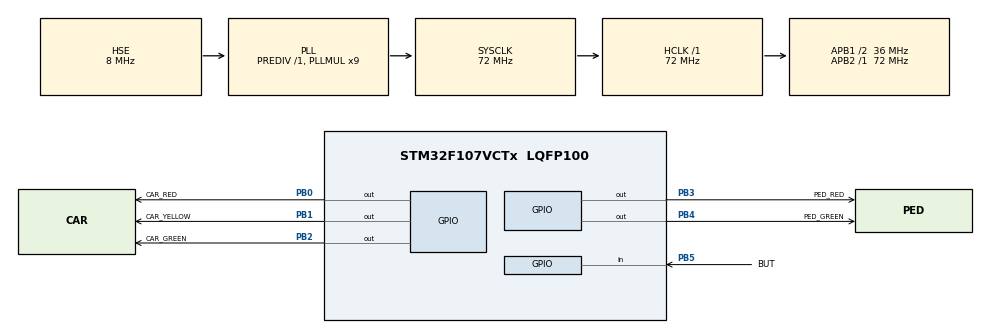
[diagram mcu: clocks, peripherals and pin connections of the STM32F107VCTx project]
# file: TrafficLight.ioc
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ProjectManager.TargetToolchain=STM32CubeIDE
Mcu.Family=STM32F1
Mcu.Name=STM32F107VCTx
Mcu.Package=LQFP100
PB0.GPIO_Label=CAR_RED
PB0.Signal=GPIO_Output
PB1.GPIO_Label=CAR_YELLOW
PB1.Signal=GPIO_Output
PB2.GPIO_Label=CAR_GREEN
PB2.Signal=GPIO_Output
PB3.GPIO_Label=PED_RED
PB3.Signal=GPIO_Output
PB4.GPIO_Label=PED_GREEN
PB4.Signal=GPIO_Output
PB5.GPIO_Label=BUT
PB5.GPIO_ModeDefault=GPIO_MODE_INPUT
PB5.GPIO_PuPd=GPIO_PULLUP
PB5.Signal=GPIO_Input
PA13.Mode=Serial_Wire
PA13.Signal=SYS_JTMS-SWDIO
PA14.Mode=Serial_Wire
PA14.Signal=SYS_JTCK-SWCLK
RCC.APB1CLKDivider=RCC_HCLK_DIV2
RCC.APB1Freq_Value=36000000
RCC.APB2CLKDivider=RCC_HCLK_DIV1
RCC.APB2Freq_Value=72000000
RCC.AHBFreq_Value=72000000
RCC.HCLKFreq_Value=72000000
RCC.HSE_VALUE=8000000
RCC.HSEState=RCC_HSE_ON
RCC.PLLMUL=RCC_PLL_MUL9
RCC.PLLSourceVirtual=RCC_PLLSOURCE_HSE
RCC.SYSCLKFreq_VALUE=72000000
RCC.SYSCLKSource=RCC_SYSCLKSOURCE_PLLCLK
SYS.Debug=Serial_Wire
SYS.OSC_IN=HSE
SYS.Timebase=TIM1

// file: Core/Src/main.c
/* USER CODE BEGIN Header */
/**
  * @file           : main.c
  * @brief          : Button-controlled car/pedestrian traffic light.
  */
/* USER CODE END Header */
#include "main.h"

/* USER CODE BEGIN 0 */
typedef enum {
  TRAFFIC_CAR_GREEN,
  TRAFFIC_CAR_YELLOW,
  TRAFFIC_ALL_RED_TO_PEDESTRIANS,
  TRAFFIC_PEDESTRIAN_GREEN,
  TRAFFIC_PEDESTRIAN_BLINK,
  TRAFFIC_ALL_RED_TO_CARS
} TrafficState;

static TrafficState traffic_state = TRAFFIC_CAR_GREEN;
static uint32_t state_started_at;
static uint32_t blink_started_at;
static uint8_t pedestrian_request;
static uint8_t button_latched;

static void SetLights(GPIO_PinState car_red, GPIO_PinState car_yellow,
                      GPIO_PinState car_green, GPIO_PinState ped_red,
                      GPIO_PinState ped_green)
{
  HAL_GPIO_WritePin(CAR_RED_GPIO_Port, CAR_RED_Pin, car_red);
  HAL_GPIO_WritePin(CAR_YELLOW_GPIO_Port, CAR_YELLOW_Pin, car_yellow);
  HAL_GPIO_WritePin(CAR_GREEN_GPIO_Port, CAR_GREEN_Pin, car_green);
  HAL_GPIO_WritePin(PED_RED_GPIO_Port, PED_RED_Pin, ped_red);
  HAL_GPIO_WritePin(PED_GREEN_GPIO_Port, PED_GREEN_Pin, ped_green);
}

static void EnterState(TrafficState next, uint32_t now)
{
  traffic_state = next;
  state_started_at = now;
  switch (next) {
    case TRAFFIC_CAR_GREEN:
      SetLights(GPIO_PIN_RESET, GPIO_PIN_RESET, GPIO_PIN_SET,
                GPIO_PIN_SET, GPIO_PIN_RESET);
      break;
    case TRAFFIC_CAR_YELLOW:
      SetLights(GPIO_PIN_RESET, GPIO_PIN_SET, GPIO_PIN_RESET,
                GPIO_PIN_SET, GPIO_PIN_RESET);
      break;
    case TRAFFIC_ALL_RED_TO_PEDESTRIANS:
      SetLights(GPIO_PIN_SET, GPIO_PIN_RESET, GPIO_PIN_RESET,
                GPIO_PIN_SET, GPIO_PIN_RESET);
      break;
    case TRAFFIC_PEDESTRIAN_GREEN:
      SetLights(GPIO_PIN_SET, GPIO_PIN_RESET, GPIO_PIN_RESET,
                GPIO_PIN_RESET, GPIO_PIN_SET);
      break;
    case TRAFFIC_PEDESTRIAN_BLINK:
      blink_started_at = now;
      SetLights(GPIO_PIN_SET, GPIO_PIN_RESET, GPIO_PIN_RESET,
                GPIO_PIN_RESET, GPIO_PIN_SET);
      break;
    case TRAFFIC_ALL_RED_TO_CARS:
      SetLights(GPIO_PIN_SET, GPIO_PIN_RESET, GPIO_PIN_RESET,
                GPIO_PIN_SET, GPIO_PIN_RESET);
      break;
    default:
      EnterState(TRAFFIC_CAR_GREEN, now);
      break;
  }
}

static void PollButton(void)
{
  const GPIO_PinState pressed = HAL_GPIO_ReadPin(BUT_GPIO_Port, BUT_Pin);
  if (pressed == GPIO_PIN_RESET && button_latched == 0U) {
    pedestrian_request = 1U;
    button_latched = 1U;
  } else if (pressed == GPIO_PIN_SET) {
    button_latched = 0U;
  }
}

static void TrafficController_Update(void)
{
  const uint32_t now = HAL_GetTick();
  const uint32_t elapsed = now - state_started_at;
  PollButton();

  switch (traffic_state) {
    case TRAFFIC_CAR_GREEN:
      /* Keep cars moving, but serve a pedestrian request after 3 seconds. */
      if (pedestrian_request != 0U && elapsed >= 3000U) {
        pedestrian_request = 0U;
        EnterState(TRAFFIC_CAR_YELLOW, now);
      }
      break;
    case TRAFFIC_CAR_YELLOW:
      if (elapsed >= 2000U) EnterState(TRAFFIC_ALL_RED_TO_PEDESTRIANS, now);
      break;
    case TRAFFIC_ALL_RED_TO_PEDESTRIANS:
      if (elapsed >= 1000U) EnterState(TRAFFIC_PEDESTRIAN_GREEN, now);
      break;
    case TRAFFIC_PEDESTRIAN_GREEN:
      if (elapsed >= 7000U) EnterState(TRAFFIC_PEDESTRIAN_BLINK, now);
      break;
    case TRAFFIC_PEDESTRIAN_BLINK:
      if ((now - blink_started_at) / 500U % 2U == 0U) {
        HAL_GPIO_WritePin(PED_GREEN_GPIO_Port, PED_GREEN_Pin, GPIO_PIN_SET);
      } else {
        HAL_GPIO_WritePin(PED_GREEN_GPIO_Port, PED_GREEN_Pin, GPIO_PIN_RESET);
      }
      if (elapsed >= 4000U) EnterState(TRAFFIC_ALL_RED_TO_CARS, now);
      break;
    case TRAFFIC_ALL_RED_TO_CARS:
      if (elapsed >= 1000U) EnterState(TRAFFIC_CAR_GREEN, now);
      break;
    default:
      EnterState(TRAFFIC_CAR_GREEN, now);
      break;
  }
}
/* USER CODE END 0 */

void SystemClock_Config(void);
static void MX_GPIO_Init(void);

int main(void)
{
  HAL_Init();
  SystemClock_Config();
  MX_GPIO_Init();

  /* USER CODE BEGIN 2 */
  EnterState(TRAFFIC_CAR_GREEN, HAL_GetTick());
  /* USER CODE END 2 */

  while (1) {
    /* USER CODE BEGIN WHILE */
    TrafficController_Update();
    HAL_Delay(10);
    /* USER CODE END WHILE */
  }
}

void SystemClock_Config(void)
{
  RCC_OscInitTypeDef RCC_OscInitStruct = {0};
  RCC_ClkInitTypeDef RCC_ClkInitStruct = {0};

  RCC_OscInitStruct.OscillatorType = RCC_OSCILLATORTYPE_HSE;
  RCC_OscInitStruct.HSEState = RCC_HSE_ON;
  RCC_OscInitStruct.HSEPredivValue = RCC_HSE_PREDIV_DIV1;
  RCC_OscInitStruct.HSIState = RCC_HSI_ON;
  RCC_OscInitStruct.PLL.PLLState = RCC_PLL_ON;
  RCC_OscInitStruct.PLL.PLLSource = RCC_PLLSOURCE_HSE;
  RCC_OscInitStruct.PLL.PLLMUL = RCC_PLL_MUL9;
  if (HAL_RCC_OscConfig(&RCC_OscInitStruct) != HAL_OK) Error_Handler();

  RCC_ClkInitStruct.ClockType = RCC_CLOCKTYPE_HCLK | RCC_CLOCKTYPE_SYSCLK |
                                RCC_CLOCKTYPE_PCLK1 | RCC_CLOCKTYPE_PCLK2;
  RCC_ClkInitStruct.SYSCLKSource = RCC_SYSCLKSOURCE_PLLCLK;
  RCC_ClkInitStruct.AHBCLKDivider = RCC_SYSCLK_DIV1;
  RCC_ClkInitStruct.APB1CLKDivider = RCC_HCLK_DIV2;
  RCC_ClkInitStruct.APB2CLKDivider = RCC_HCLK_DIV1;
  if (HAL_RCC_ClockConfig(&RCC_ClkInitStruct, FLASH_LATENCY_2) != HAL_OK) {
    Error_Handler();
  }
}

static void MX_GPIO_Init(void)
{
  GPIO_InitTypeDef GPIO_InitStruct = {0};
  __HAL_RCC_GPIOB_CLK_ENABLE();

  HAL_GPIO_WritePin(GPIOB, CAR_RED_Pin | CAR_YELLOW_Pin | CAR_GREEN_Pin |
                           PED_RED_Pin | PED_GREEN_Pin, GPIO_PIN_RESET);
  GPIO_InitStruct.Pin = CAR_RED_Pin | CAR_YELLOW_Pin | CAR_GREEN_Pin |
                        PED_RED_Pin | PED_GREEN_Pin;
  GPIO_InitStruct.Mode = GPIO_MODE_OUTPUT_PP;
  GPIO_InitStruct.Pull = GPIO_NOPULL;
  GPIO_InitStruct.Speed = GPIO_SPEED_FREQ_LOW;
  HAL_GPIO_Init(GPIOB, &GPIO_InitStruct);

  GPIO_InitStruct.Pin = BUT_Pin;
  GPIO_InitStruct.Mode = GPIO_MODE_INPUT;
  GPIO_InitStruct.Pull = GPIO_PULLUP;
  HAL_GPIO_Init(BUT_GPIO_Port, &GPIO_InitStruct);
}

void Error_Handler(void)
{
  __disable_irq();
  while (1) { }
}
